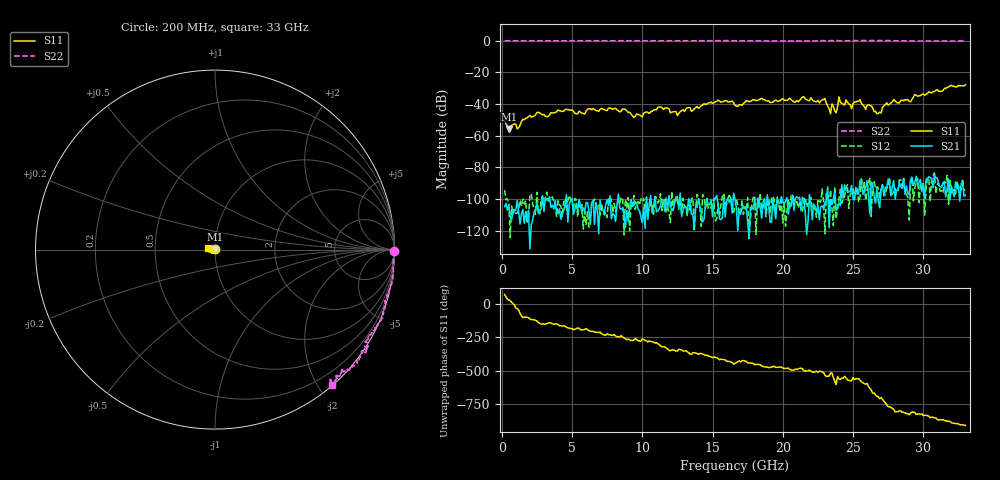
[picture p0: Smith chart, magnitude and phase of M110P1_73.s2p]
# GHZ S RI R 50
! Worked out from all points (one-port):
!   329 points, 200 MHz to 33 GHz, reference 50 ohm
!   lowest |S11| = -55.8 dB at 500 MHz (marker M1), VSWR 1.00, Z = 50.1 + j0.082 ohm
!   |S11| at or under -10 dB: start of sweep to end of sweep
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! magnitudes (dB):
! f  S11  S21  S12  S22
! 200 MHz  -50.8  -105.0  -94.4  0.0
! 500 MHz  -55.8  -104.1  -103.0  0.0
! 2.5 GHz  -45.4  -102.2  -95.7  0.0
! 5.7 GHz  -45.7  -108.8  -103.5  0.0
! 8.6 GHz  -43.0  -105.6  -99.1  0.0
! 10 GHz  -48.1  -114.9  -101.4  -0.1
! 11.2 GHz  -41.9  -106.3  -101.2  -0.1
! 12.5 GHz  -47.4  -98.4  -101.7  -0.1
! 15.4 GHz  -37.6  -104.6  -102.5  0.0
! 16.6 GHz  -40.8  -100.2  -104.9  0.0
! 18.5 GHz  -36.4  -112.2  -107.0  0.0
! 22.1 GHz  -37.4  -113.1  -105.9  -0.2
! 23 GHz  -36.4  -102.1  -122.1  -0.1
! 23.4 GHz  -46.2  -100.3  -94.4  0.1
! 23.5 GHz  -40.0  -103.6  -105.9  0.1
! 23.8 GHz  -45.6  -107.5  -112.5  0.1
! 24 GHz  -35.6  -102.6  -99.9  -0.1
! 24.9 GHz  -42.9  -91.6  -95.7  0.0
! 25.5 GHz  -37.2  -88.5  -98.7  0.1
! 26.7 GHz  -46.2  -93.6  -92.2  0.1
! 27.6 GHz  -40.1  -90.6  -86.5  0.0
! 33 GHz  -27.9  -97.7  -94.3  0.0
